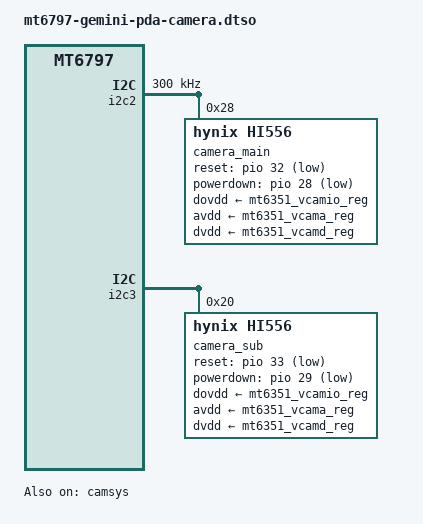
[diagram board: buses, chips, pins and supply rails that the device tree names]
// SPDX-License-Identifier: (GPL-2.0-only OR MIT)
/*
 * Planet Computers Gemini PDA camera sensors: power, master clocks and
 * identification only; there is no CSI-2 receiver yet.
 */

/dts-v1/;
/plugin/;

#include <dt-bindings/clock/mt6797-clk.h>
#include <dt-bindings/gpio/gpio.h>
#include <dt-bindings/pinctrl/mt6797-pinfunc.h>
#include <dt-bindings/power/mt6797-power.h>

/ {
	compatible = "planet,gemini-pda", "mediatek,mt6797";
};

&{/} {
	/* SENINF timing generators 0/1 provide CMMCLK0/1. */
	seninf_mclk: clock-controller@1a040000 {
		compatible = "mediatek,mt6797-seninf-mclk";
		reg = <0 0x1a040000 0 0x2000>;
		clocks = <&camsys CLK_CAM_CAMTG>,
			 <&camsys CLK_CAM_SENINF>,
			 <&camsys CLK_CAM_CAMSYS>;
		clock-names = "camtg", "seninf", "camsys";
		power-domains = <&scpsys MT6797_POWER_DOMAIN_ISP>;
		#clock-cells = <1>;
		assigned-clocks = <&topckgen CLK_TOP_MUX_CAMTG>;
		assigned-clock-parents = <&topckgen CLK_TOP_UNIVPLL_D26>;
	};
};

/*
 * Camera rails. The vendor DWS gives VCAMA, VCAMD and VCAMIO to the main
 * and sub camera only, default off; VLDO28 (camera AF) is shared with the
 * touch controller and is not used here.
 */
&mt6351regulator {
	mt6351_vcama_reg: ldo-vcama {
		regulator-name = "vcama";
		regulator-min-microvolt = <2800000>;
		regulator-max-microvolt = <2800000>;
	};

	mt6351_vcamd_reg: ldo-vcamd {
		/* The vendor kernel raises the sensors' 1.2 V request to 1.21 V. */
		regulator-name = "vcamd";
		regulator-min-microvolt = <1210000>;
		regulator-max-microvolt = <1210000>;
	};

	mt6351_vcamio_reg: ldo-vcamio {
		regulator-name = "vcamio";
		regulator-min-microvolt = <1800000>;
		regulator-max-microvolt = <1800000>;
	};
};


/*
 * Cameras. Both slots take the vendor-named "SP5509" module,
 * whose vendor driver matches the SK Hynix Hi-556 (chip ID 0x0556 at
 * register 0x0f16, and the same register programme). Wiring from the
 * vendor DWS and kd_camera_hw.c:
 *   main: I2C2, CMMCLK0 (GPIO30), reset GPIO32, powerdown GPIO28
 *   sub:  I2C3, CMMCLK1 (GPIO31), reset GPIO33, powerdown GPIO29
 * Rails: DOVDD VCAMIO 1.8 V, AVDD VCAMA 2.8 V, DVDD VCAMD 1.21 V, 24 MHz
 * MCLK, two CSI-2 data lanes. The vendor drivers probe both 8-bit
 * addresses 0x40 and 0x50 (7-bit 0x20/0x28): the main driver tries 0x50
 * first and the sub driver 0x40 first; those are the addresses used.
 * Which physical slot is populated varies by unit. There is no CSI-2
 * receiver yet, so the endpoints have no remote.
 */
&camsys {
	power-domains = <&scpsys MT6797_POWER_DOMAIN_ISP>;
	status = "okay";
};


&pio {
	camera_main_pins: camera-main-pins {
		pins-mclk {
			pinmux = <MT6797_GPIO30__FUNC_CMMCLK0>;
		};

		pins-ctrl {
			pinmux = <MT6797_GPIO32__FUNC_GPIO32>,
				 <MT6797_GPIO28__FUNC_GPIO28>;
		};
	};

	camera_sub_pins: camera-sub-pins {
		pins-mclk {
			pinmux = <MT6797_GPIO31__FUNC_CMMCLK1>;
		};

		pins-ctrl {
			pinmux = <MT6797_GPIO33__FUNC_GPIO33>,
				 <MT6797_GPIO29__FUNC_GPIO29>;
		};
	};
};

&i2c2 {
	#address-cells = <1>;
	#size-cells = <0>;
	/* The vendor DWS runs this bus at 300 kHz. */
	clock-frequency = <300000>;
	pinctrl-names = "default";
	pinctrl-0 = <&i2c2_pins_a>;
	status = "okay";

	camera_main: camera@28 {
		compatible = "hynix,hi556";
		reg = <0x28>;
		pinctrl-names = "default";
		pinctrl-0 = <&camera_main_pins>;
		clocks = <&seninf_mclk 0>;
		assigned-clocks = <&seninf_mclk 0>;
		assigned-clock-rates = <24000000>;
		dovdd-supply = <&mt6351_vcamio_reg>;
		avdd-supply = <&mt6351_vcama_reg>;
		dvdd-supply = <&mt6351_vcamd_reg>;
		reset-gpios = <&pio 32 GPIO_ACTIVE_LOW>;
		powerdown-gpios = <&pio 28 GPIO_ACTIVE_LOW>;

		port {
			endpoint {
				data-lanes = <1 2>;
			};
		};
	};
};

&i2c3 {
	#address-cells = <1>;
	#size-cells = <0>;
	camera_sub: camera@20 {
		compatible = "hynix,hi556";
		reg = <0x20>;
		pinctrl-names = "default";
		pinctrl-0 = <&camera_sub_pins>;
		clocks = <&seninf_mclk 1>;
		assigned-clocks = <&seninf_mclk 1>;
		assigned-clock-rates = <24000000>;
		dovdd-supply = <&mt6351_vcamio_reg>;
		avdd-supply = <&mt6351_vcama_reg>;
		dvdd-supply = <&mt6351_vcamd_reg>;
		reset-gpios = <&pio 33 GPIO_ACTIVE_LOW>;
		powerdown-gpios = <&pio 29 GPIO_ACTIVE_LOW>;

		port {
			endpoint {
				data-lanes = <1 2>;
			};
		};
	};
};
